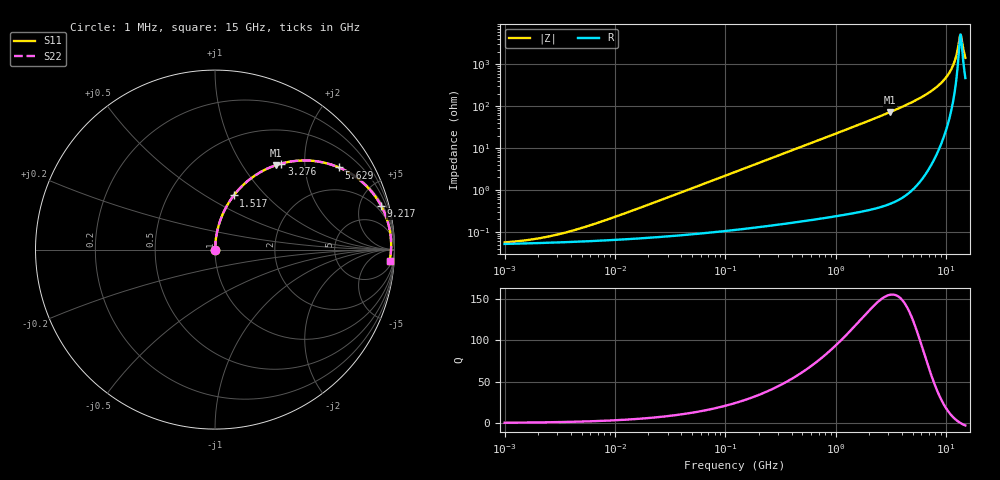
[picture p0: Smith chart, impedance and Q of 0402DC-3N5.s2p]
# MHz  S  MA  R  50
!Freq  MagS11  AngS11  MagS21  AngS21  MagS12  AngS12  MagS22  AngS22
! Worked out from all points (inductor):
!   801 points, 1 MHz to 15 GHz, reference 50 ohm
!   read as one part in series: L = 3.5 nH near 8.714 MHz
!   highest Q = 154 at 3.085 GHz (marker M1), where L = 3.69 nH
!   self-resonance near 13.54 GHz
!   S11 on the Smith chart (normalised r, x): 1 MHz: 1.00, +0.00; 1.517 GHz: 1.01, +0.68; 3.276 GHz: 1.01, +1.53; 5.629 GHz: 1.03, +2.99; 9.217 GHz: 1.29, +7.52; 15 GHz: 10, -27
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1  0.0005638 22.9  0.9995 -0.0  0.9995 -0.0  0.0005638 22.9
2.238564  0.000737 41.9  0.9995 -0.0  0.9995 -0.0  0.000737 41.9
5.011168  0.001251 61.6  0.9994 -0.1  0.9994 -0.1  0.001251 61.6
24.81158  0.005504 81.8  0.9992 -0.3  0.9992 -0.3  0.005504 81.8
122.8485  0.027 86.1  0.9985 -1.5  0.9985 -1.5  0.027 86.1
608.2547  0.1326 81.6  0.9893 -7.6  0.9893 -7.6  0.1326 81.6
1517.28  0.3193 70.9  0.9449 -18.6  0.9449 -18.6  0.3193 70.9
2176.549  0.4397 63.5  0.895 -26.1  0.895 -26.1  0.4397 63.5
3048.066  0.575 54.5  0.8144 -35.1  0.8144 -35.1  0.575 54.5
3084.948  0.5801 54.2  0.8108 -35.5  0.8108 -35.5  0.5801 54.2
3276.159  0.6058 52.3  0.7917 -37.3  0.7917 -37.3  0.6058 52.3
4320.198  0.724 43.2  0.6847 -46.4  0.6847 -46.4  0.724 43.2
5628.842  0.8277 33.6  0.5534 -55.9  0.5534 -55.9  0.8277 33.6
7422.63  0.9131 23.1  0.3918 -65.9  0.3918 -65.9  0.9131 23.1
9216.785  0.9575 14.7  0.2544 -73.1  0.2544 -73.1  0.9575 14.7
10394.74  0.9726 10.1  0.176 -76.0  0.176 -76.0  0.9726 10.1
11444.61  0.9796 6.4  0.1132 -76.4  0.1132 -76.4  0.9796 6.4
12153.97  0.9817 4.2  0.07432 -73.7  0.07432 -73.7  0.9817 4.2
13063.48  0.9818 1.4  0.03085 -53.2  0.03085 -53.2  0.9818 1.4
13381.53  0.9813 0.5  0.02087 -26.1  0.02087 -26.1  0.9813 0.5
13873.18  0.98 -0.8  0.02449 34.8  0.02449 34.8  0.98 -0.8
15000  0.9749 -3.7  0.06902 66.9  0.06902 66.9  0.9749 -3.7
